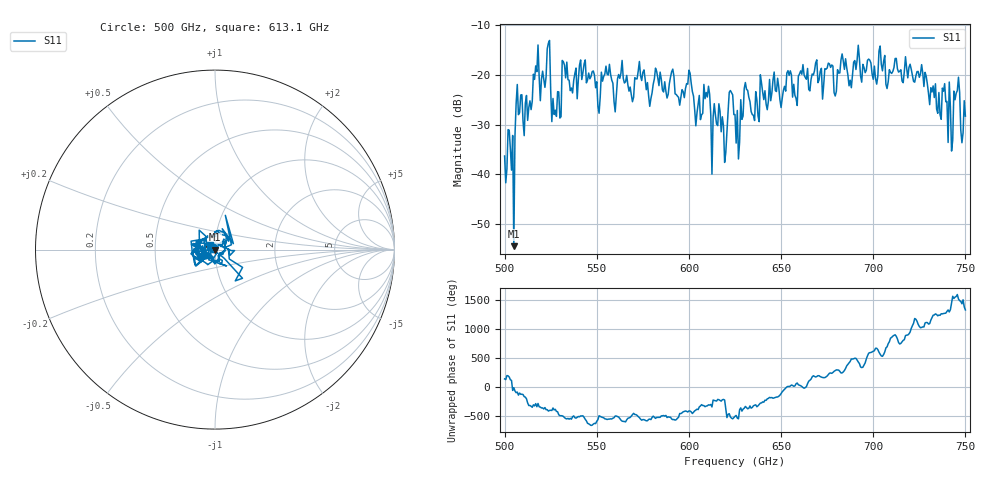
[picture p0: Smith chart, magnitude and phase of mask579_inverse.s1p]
!Created with skrf (http://scikit-rf.org).
# GHz S MA R 50.0
!freq magS11 angS11
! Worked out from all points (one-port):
!   401 points, 500 GHz to 750 GHz, reference 50 ohm
!   lowest |S11| = -54.4 dB at 505 GHz (marker M1), VSWR 1.00, Z = 50.2 - j0.05 ohm
!   |S11| at or under -10 dB: start of sweep to end of sweep
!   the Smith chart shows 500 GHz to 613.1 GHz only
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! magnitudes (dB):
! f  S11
! 500 GHz  -36.3
! 505 GHz  -54.4
! 507.5 GHz  -28.0
! 513.8 GHz  -25.2
! 516.9 GHz  -18.2
! 520.6 GHz  -19.3
! 523.8 GHz  -13.7
! 526.9 GHz  -28.0
! 531.2 GHz  -17.1
! 550.6 GHz  -26.3
! 556.2 GHz  -20.0
! 559.4 GHz  -25.4
! 562.5 GHz  -20.7
! 593.8 GHz  -24.3
! 609.4 GHz  -23.6
! 618.8 GHz  -30.3
! 622.5 GHz  -23.2
! 625 GHz  -28.0
! 656.2 GHz  -24.5
! 680 GHz  -23.3
! 683.8 GHz  -17.2
! 687.5 GHz  -21.1
! 718.8 GHz  -20.6
! 735.6 GHz  -23.6
! 738.8 GHz  -21.8
! 741.9 GHz  -26.5
! 745 GHz  -23.7
! 750 GHz  -28.3
